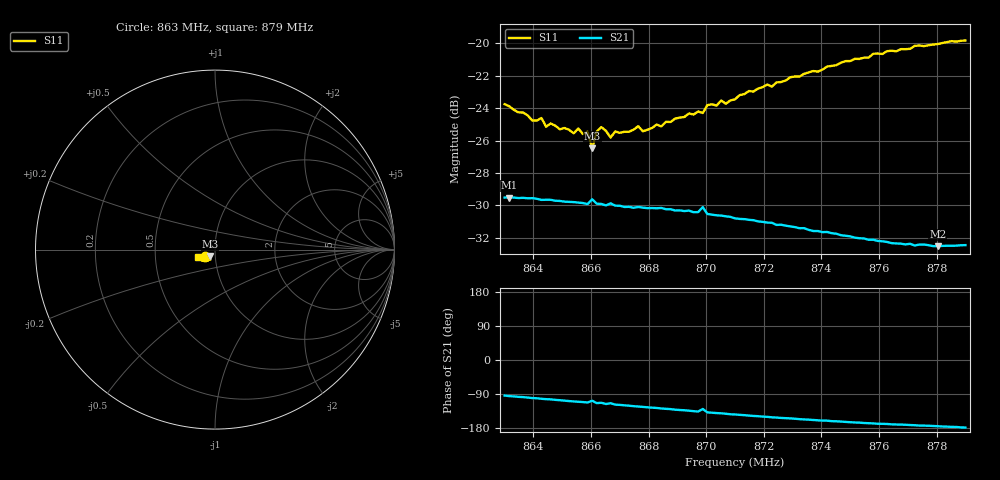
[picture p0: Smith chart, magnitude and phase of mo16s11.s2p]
# HZ S RI R 50
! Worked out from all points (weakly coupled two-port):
!   101 points, 863 MHz to 879 MHz, reference 50 ohm
!   highest |S21| = -29.51 dB at 863.16 MHz (marker M1); lowest = -32.5 dB at 878.04 MHz (marker M2)
!   lowest |S11| = -26.5 dB at 866.04 MHz (marker M3), VSWR 1.10, Z = 47.1 - j3.58 ohm
!   |S11| at or under -10 dB: start of sweep to end of sweep
!   S12 and S22 are empty: the file has one direction only
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8.63e8  -0.0534 -0.0369  -0.00224 -0.0334  0 0  0 0
8.6316e8  -0.0518 -0.0376  -0.0031 -0.0333  0 0  0 0
8.6396e8  -0.0452 -0.0361  -0.00605 -0.0327  0 0  0 0
8.6428e8  -0.0451 -0.0378  -0.00704 -0.0321  0 0  0 0
8.6444e8  -0.0427 -0.0352  -0.00759 -0.032  0 0  0 0
8.6572e8  -0.0358 -0.0384  -0.0115 -0.03  0 0  0 0
8.6588e8  -0.0381 -0.0374  -0.0121 -0.0296  0 0  0 0
8.6604e8  -0.0286 -0.0379  -0.00987 -0.0315  0 0  0 0
8.662e8  -0.0365 -0.0391  -0.0129 -0.0293  0 0  0 0
8.6636e8  -0.0377 -0.0402  -0.0124 -0.0294  0 0  0 0
8.6668e8  -0.031 -0.0408  -0.013 -0.0293  0 0  0 0
8.6764e8  -0.0334 -0.0443  -0.0169 -0.0263  0 0  0 0
8.678e8  -0.0319 -0.043  -0.0173 -0.0259  0 0  0 0
8.6844e8  -0.0344 -0.0435  -0.0191 -0.0245  0 0  0 0
8.6956e8  -0.033 -0.0505  -0.0213 -0.0213  0 0  0 0
8.6988e8  -0.0252 -0.0555  -0.0198 -0.0242  0 0  0 0
8.7004e8  -0.0345 -0.0545  -0.0222 -0.0198  0 0  0 0
8.71e8  -0.0358 -0.0568  -0.0233 -0.0171  0 0  0 0
8.7372e8  -0.0509 -0.0645  -0.0245 -0.00974  0 0  0 0
8.7644e8  -0.0737 -0.0597  -0.0238 -0.00429  0 0  0 0
8.7804e8  -0.0857 -0.0505  -0.0236 -0.00218  0 0  0 0
8.79e8  -0.0923 -0.0435  -0.0238 -0.000757  0 0  0 0
